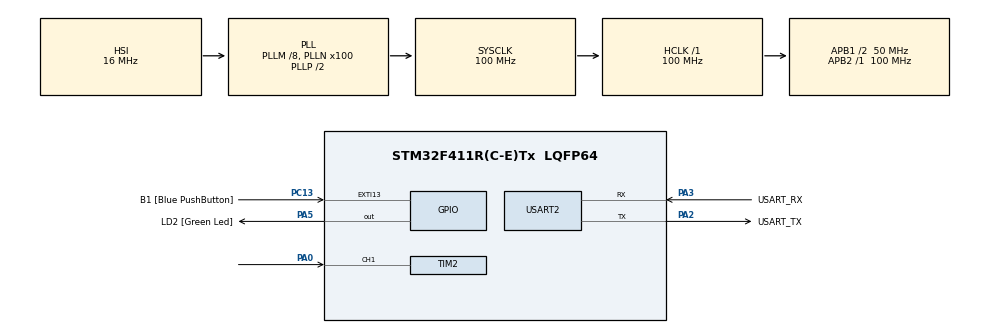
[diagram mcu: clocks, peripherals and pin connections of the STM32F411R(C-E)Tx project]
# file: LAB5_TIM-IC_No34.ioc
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Mcu.Family=STM32F4
PC15-OSC32_OUT.Mode=LSE-External-Oscillator
Dma.TIM2_CH1.0.MemInc=DMA_MINC_ENABLE
VP_TIM5_VS_ClockSourceINT.Mode=Internal
RCC.CortexFreq_Value=100000000
TIM2.Channel-Input_Capture1_from_TI1=TIM_CHANNEL_1
PC13-ANTI_TAMP.GPIO_Label=B1 [Blue PushButton]
PA14.GPIO_Label=TCK
PH1\ -\ OSC_OUT.Mode=HSE-External-Clock-Source
Dma.TIM2_CH1.0.Instance=DMA1_Stream5
RCC.APB1CLKDivider=RCC_HCLK_DIV2
PC14-OSC32_IN.Signal=RCC_OSC32_IN
RCC.SYSCLKSource=RCC_SYSCLKSOURCE_PLLCLK
ProjectManager.StackSize=0x400
PA0-WKUP.Signal=S_TIM2_CH1_ETR
PA3.Mode=Asynchronous
PA13.Signal=SYS_JTMS-SWDIO
PH0\ -\ OSC_IN.Mode=HSE-External-Clock-Source
PH0\ -\ OSC_IN.Signal=RCC_OSC_IN
ProjectManager.TargetToolchain=STM32CubeIDE
NVIC.DMA1_Stream5_IRQn=true\:0\:0\:false\:false\:true\:false\:true
NVIC.TIM5_IRQn=true\:0\:0\:false\:false\:true\:true\:true
RCC.HCLKFreq_Value=100000000
RCC.APB2TimFreq_Value=100000000
PC15-OSC32_OUT.Signal=RCC_OSC32_OUT
RCC.AHBFreq_Value=100000000
PA5.Signal=GPIO_Output
RCC.HSE_VALUE=8000000
PH1\ -\ OSC_OUT.Signal=RCC_OSC_OUT
board=NUCLEO-F411RE
PC13-ANTI_TAMP.Signal=GPXTI13
RCC.VCOOutputFreq_Value=200000000
RCC.APB2Freq_Value=100000000
Dma.TIM2_CH1.0.Priority=DMA_PRIORITY_LOW
PC14-OSC32_IN.Mode=LSE-External-Oscillator
VP_TIM2_VS_ClockSourceINT.Mode=Internal
PA14.Mode=Serial_Wire
NVIC.TIM2_IRQn=true\:0\:0\:false\:false\:true\:true\:true
PA13.Mode=Serial_Wire
Mcu.Name=STM32F411R(C-E)Tx
PA2.Signal=USART2_TX
PA13.GPIO_Label=TMS
RCC.FLatency-AdvancedSettings=FLASH_LATENCY_3
RCC.48MHZClocksFreq_Value=50000000
PB3.Signal=SYS_JTDO-SWO
RCC.SYSCLKFreq_VALUE=100000000
Mcu.Package=LQFP64
Dma.TIM2_CH1.0.Mode=DMA_CIRCULAR
TIM2.Prescaler=99
Dma.TIM2_CH1.0.FIFOMode=DMA_FIFOMODE_DISABLE
PA5.GPIO_Label=LD2 [Green Led]
TIM5.Prescaler=99
USART2.VirtualMode=VM_ASYNC
PC13-ANTI_TAMP.GPIO_ModeDefaultEXTI=GPIO_MODE_IT_FALLING
PA2.GPIO_Label=USART_TX
Dma.TIM2_CH1.0.MemDataAlignment=DMA_MDATAALIGN_WORD
SH.S_TIM2_CH1_ETR.0=TIM2_CH1,Input_Capture1_from_TI1
PA14.Signal=SYS_JTCK-SWCLK
ProjectManager.HeapSize=0x200
Dma.TIM2_CH1.0.PeriphDataAlignment=DMA_PDATAALIGN_WORD
RCC.HSI_VALUE=16000000
NVIC.PriorityGroup=NVIC_PRIORITYGROUP_0
RCC.PLLM=8
RCC.PLLN=100
RCC.APB1TimFreq_Value=100000000
PA2.Mode=Asynchronous
Dma.Request0=TIM2_CH1
RCC.APB1Freq_Value=50000000
Dma.TIM2_CH1.0.Direction=DMA_PERIPH_TO_MEMORY
Dma.TIM2_CH1.0.PeriphInc=DMA_PINC_DISABLE
PA3.GPIO_Label=USART_RX
PA3.Signal=USART2_RX
PB3.GPIO_Label=SWO

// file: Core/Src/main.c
/* USER CODE BEGIN Header */
/**
  ******************************************************************************
  * @file           : main.c
  * @brief          : Main program body
  ******************************************************************************
  * @attention
  *
  * <h2><center>&copy; Copyright (c) 2021 STMicroelectronics.
  * All rights reserved.</center></h2>
  *
  * This software component is licensed by ST under BSD 3-Clause license,
  * the "License"; You may not use this file except in compliance with the
  * License. You may obtain a copy of the License at:
  *                        opensource.org/licenses/BSD-3-Clause
  *
  ******************************************************************************
  */
/* USER CODE END Header */
#include "main.h"

/* USER CODE BEGIN PD */
#define CAPTURENUM 32
/* USER CODE END PD */

TIM_HandleTypeDef htim2;
TIM_HandleTypeDef htim5;
DMA_HandleTypeDef hdma_tim2_ch1;

UART_HandleTypeDef huart2;

/* USER CODE BEGIN PV */
uint64_t _micros = 0;

//DNA Buffer
uint32_t capturedata[CAPTURENUM] = {0};
//diff time
uint32_t DiffTime[CAPTURENUM-1] = {0};
//Mean time
float Meantime = 0;
//RPM
float omega=0;

/* USER CODE END PV */

void SystemClock_Config(void);
static void MX_GPIO_Init(void);
static void MX_DMA_Init(void);
static void MX_USART2_UART_Init(void);
static void MX_TIM2_Init(void);
static void MX_TIM5_Init(void);
/* USER CODE BEGIN PFP */
uint64_t micros();
void EncoderSpeedReader();
/* USER CODE END PFP */

int main(void)
{

  /* MCU Configuration--------------------------------------------------------*/

  /* Reset of all peripherals, Initializes the Flash interface and the Systick. */
  HAL_Init();

  /* Configure the system clock */
  SystemClock_Config();

  /* Initialize all configured peripherals */
  MX_GPIO_Init();
  MX_DMA_Init();
  MX_USART2_UART_Init();
  MX_TIM2_Init();
  MX_TIM5_Init();
  /* USER CODE BEGIN 2 */
  HAL_TIM_Base_Start_IT(&htim5);
  uint64_t timestamp = 0;

  //start DMA
  HAL_TIM_Base_Start(&htim2);
  HAL_TIM_IC_Start_DMA(&htim2, TIM_CHANNEL_1, &capturedata, CAPTURENUM);
  /* USER CODE END 2 */

  /* Infinite loop */
  while (1)
  {

    /* USER CODE BEGIN 3 */
	EncoderSpeedReader();

	if(micros()-timestamp > 100000)
	{
		timestamp = micros();
		HAL_GPIO_TogglePin(LD2_GPIO_Port, LD2_Pin);
	}

	omega = (60000000/(Meantime*12))/64.0;
  }
  /* USER CODE END 3 */
}

void SystemClock_Config(void)
{
  RCC_OscInitTypeDef RCC_OscInitStruct = {0};
  RCC_ClkInitTypeDef RCC_ClkInitStruct = {0};

  /** Configure the main internal regulator output voltage
  */
  __HAL_RCC_PWR_CLK_ENABLE();
  __HAL_PWR_VOLTAGESCALING_CONFIG(PWR_REGULATOR_VOLTAGE_SCALE1);
  /** Initializes the RCC Oscillators according to the specified parameters
  * in the RCC_OscInitTypeDef structure.
  */
  RCC_OscInitStruct.OscillatorType = RCC_OSCILLATORTYPE_HSI;
  RCC_OscInitStruct.HSIState = RCC_HSI_ON;
  RCC_OscInitStruct.HSICalibrationValue = RCC_HSICALIBRATION_DEFAULT;
  RCC_OscInitStruct.PLL.PLLState = RCC_PLL_ON;
  RCC_OscInitStruct.PLL.PLLSource = RCC_PLLSOURCE_HSI;
  RCC_OscInitStruct.PLL.PLLM = 8;
  RCC_OscInitStruct.PLL.PLLN = 100;
  RCC_OscInitStruct.PLL.PLLP = RCC_PLLP_DIV2;
  RCC_OscInitStruct.PLL.PLLQ = 4;
  if (HAL_RCC_OscConfig(&RCC_OscInitStruct) != HAL_OK)
  {
    Error_Handler();
  }
  /** Initializes the CPU, AHB and APB buses clocks
  */
  RCC_ClkInitStruct.ClockType = RCC_CLOCKTYPE_HCLK|RCC_CLOCKTYPE_SYSCLK
                              |RCC_CLOCKTYPE_PCLK1|RCC_CLOCKTYPE_PCLK2;
  RCC_ClkInitStruct.SYSCLKSource = RCC_SYSCLKSOURCE_PLLCLK;
  RCC_ClkInitStruct.AHBCLKDivider = RCC_SYSCLK_DIV1;
  RCC_ClkInitStruct.APB1CLKDivider = RCC_HCLK_DIV2;
  RCC_ClkInitStruct.APB2CLKDivider = RCC_HCLK_DIV1;

  if (HAL_RCC_ClockConfig(&RCC_ClkInitStruct, FLASH_LATENCY_3) != HAL_OK)
  {
    Error_Handler();
  }
}

static void MX_TIM2_Init(void)
{

  TIM_ClockConfigTypeDef sClockSourceConfig = {0};
  TIM_MasterConfigTypeDef sMasterConfig = {0};
  TIM_IC_InitTypeDef sConfigIC = {0};

  htim2.Instance = TIM2;
  htim2.Init.Prescaler = 99;
  htim2.Init.CounterMode = TIM_COUNTERMODE_UP;
  htim2.Init.Period = 4294967295;
  htim2.Init.ClockDivision = TIM_CLOCKDIVISION_DIV1;
  htim2.Init.AutoReloadPreload = TIM_AUTORELOAD_PRELOAD_DISABLE;
  if (HAL_TIM_Base_Init(&htim2) != HAL_OK)
  {
    Error_Handler();
  }
  sClockSourceConfig.ClockSource = TIM_CLOCKSOURCE_INTERNAL;
  if (HAL_TIM_ConfigClockSource(&htim2, &sClockSourceConfig) != HAL_OK)
  {
    Error_Handler();
  }
  if (HAL_TIM_IC_Init(&htim2) != HAL_OK)
  {
    Error_Handler();
  }
  sMasterConfig.MasterOutputTrigger = TIM_TRGO_RESET;
  sMasterConfig.MasterSlaveMode = TIM_MASTERSLAVEMODE_DISABLE;
  if (HAL_TIMEx_MasterConfigSynchronization(&htim2, &sMasterConfig) != HAL_OK)
  {
    Error_Handler();
  }
  sConfigIC.ICPolarity = TIM_INPUTCHANNELPOLARITY_RISING;
  sConfigIC.ICSelection = TIM_ICSELECTION_DIRECTTI;
  sConfigIC.ICPrescaler = TIM_ICPSC_DIV1;
  sConfigIC.ICFilter = 0;
  if (HAL_TIM_IC_ConfigChannel(&htim2, &sConfigIC, TIM_CHANNEL_1) != HAL_OK)
  {
    Error_Handler();
  }

}

static void MX_TIM5_Init(void)
{

  TIM_ClockConfigTypeDef sClockSourceConfig = {0};
  TIM_MasterConfigTypeDef sMasterConfig = {0};

  htim5.Instance = TIM5;
  htim5.Init.Prescaler = 99;
  htim5.Init.CounterMode = TIM_COUNTERMODE_UP;
  htim5.Init.Period = 4294967295;
  htim5.Init.ClockDivision = TIM_CLOCKDIVISION_DIV1;
  htim5.Init.AutoReloadPreload = TIM_AUTORELOAD_PRELOAD_DISABLE;
  if (HAL_TIM_Base_Init(&htim5) != HAL_OK)
  {
    Error_Handler();
  }
  sClockSourceConfig.ClockSource = TIM_CLOCKSOURCE_INTERNAL;
  if (HAL_TIM_ConfigClockSource(&htim5, &sClockSourceConfig) != HAL_OK)
  {
    Error_Handler();
  }
  sMasterConfig.MasterOutputTrigger = TIM_TRGO_RESET;
  sMasterConfig.MasterSlaveMode = TIM_MASTERSLAVEMODE_DISABLE;
  if (HAL_TIMEx_MasterConfigSynchronization(&htim5, &sMasterConfig) != HAL_OK)
  {
    Error_Handler();
  }

}

static void MX_USART2_UART_Init(void)
{

  huart2.Instance = USART2;
  huart2.Init.BaudRate = 115200;
  huart2.Init.WordLength = UART_WORDLENGTH_8B;
  huart2.Init.StopBits = UART_STOPBITS_1;
  huart2.Init.Parity = UART_PARITY_NONE;
  huart2.Init.Mode = UART_MODE_TX_RX;
  huart2.Init.HwFlowCtl = UART_HWCONTROL_NONE;
  huart2.Init.OverSampling = UART_OVERSAMPLING_16;
  if (HAL_UART_Init(&huart2) != HAL_OK)
  {
    Error_Handler();
  }

}

static void MX_DMA_Init(void)
{

  /* DMA controller clock enable */
  __HAL_RCC_DMA1_CLK_ENABLE();

  /* DMA interrupt init */
  /* DMA1_Stream5_IRQn interrupt configuration */
  HAL_NVIC_SetPriority(DMA1_Stream5_IRQn, 0, 0);
  HAL_NVIC_EnableIRQ(DMA1_Stream5_IRQn);

}

static void MX_GPIO_Init(void)
{
  GPIO_InitTypeDef GPIO_InitStruct = {0};

  /* GPIO Ports Clock Enable */
  __HAL_RCC_GPIOC_CLK_ENABLE();
  __HAL_RCC_GPIOH_CLK_ENABLE();
  __HAL_RCC_GPIOA_CLK_ENABLE();
  __HAL_RCC_GPIOB_CLK_ENABLE();

  /*Configure GPIO pin Output Level */
  HAL_GPIO_WritePin(LD2_GPIO_Port, LD2_Pin, GPIO_PIN_RESET);

  /*Configure GPIO pin : B1_Pin */
  GPIO_InitStruct.Pin = B1_Pin;
  GPIO_InitStruct.Mode = GPIO_MODE_IT_FALLING;
  GPIO_InitStruct.Pull = GPIO_NOPULL;
  HAL_GPIO_Init(B1_GPIO_Port, &GPIO_InitStruct);

  /*Configure GPIO pin : LD2_Pin */
  GPIO_InitStruct.Pin = LD2_Pin;
  GPIO_InitStruct.Mode = GPIO_MODE_OUTPUT_PP;
  GPIO_InitStruct.Pull = GPIO_NOPULL;
  GPIO_InitStruct.Speed = GPIO_SPEED_FREQ_LOW;
  HAL_GPIO_Init(LD2_GPIO_Port, &GPIO_InitStruct);

}

/* USER CODE BEGIN 4 */
uint64_t micros()
{
	return _micros + htim5.Instance->CNT;
}

void HAL_TIM_PeriodElapsedCallback(TIM_HandleTypeDef *htim)
{
	if(htim == &htim5)
	{
		_micros+=4294967295; //32bits
	}
}

/////////////////////////////////////////////////////////////

void EncoderSpeedReader()
{
	uint8_t CapPos = CAPTURENUM - __HAL_DMA_GET_COUNTER(htim2.hdma[TIM_DMA_ID_CC1]); //32 - ช่องที่เหลือ
	uint32_t sum=0;
	for(register int i=0 ; i< CAPTURENUM-1 ; i++)
	{
		DiffTime[i]= capturedata[(CapPos+1+i)%CAPTURENUM]-capturedata[(CapPos+i)%CAPTURENUM];
		if(DiffTime[i] < 0)
		{
			DiffTime[i]+=4294967295;
		}
		sum+=DiffTime[i];
	}
	//Mean all 32
	Meantime = sum/(float)(CAPTURENUM-1);
}
/* USER CODE END 4 */

void Error_Handler(void)
{
  __disable_irq();
  while (1)
  {
  }
}

/************************ (C) COPYRIGHT STMicroelectronics *****END OF FILE****/
